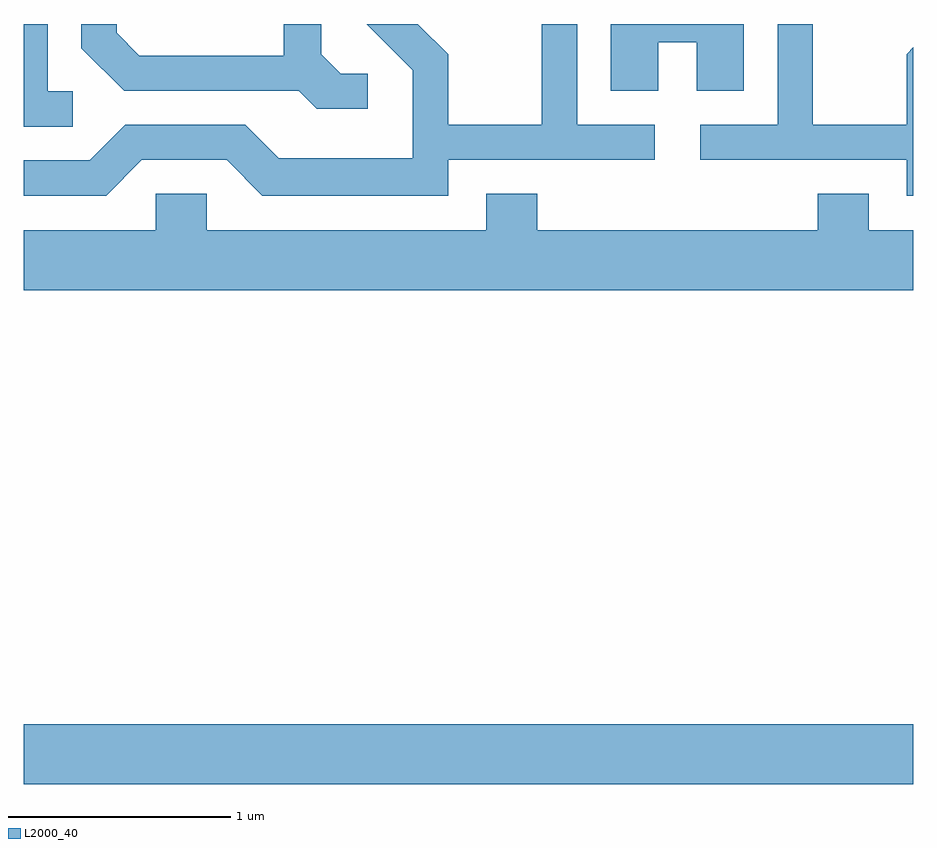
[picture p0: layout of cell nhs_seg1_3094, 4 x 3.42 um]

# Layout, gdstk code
import gdstk
lib = gdstk.Library(unit=1e-6, precision=1e-09)
def R(c, l, rs):  # rectangles x0, y0, x1, y1
    for r in rs: c.add(gdstk.rectangle(r[:2], r[2:], *l))
def P(c, l, *ps):  # polygons
    for p in ps: c.add(gdstk.Polygon(p, *l))
L2000_40 = (2000, 40)

nhs_seg1_3094 = lib.new_cell('nhs_seg1_3094')
R(nhs_seg1_3094, L2000_40, [(279.611,846.296,283.611,846.564)])
P(nhs_seg1_3094, L2000_40, [(282.464,849.631),(282.636,849.631),(282.636,849.411),(282.849,849.411),(282.849,849.712),(282.251,849.712),(282.251,849.411),(282.464,849.411)],
  [(283.611,849.607),(283.581,849.577),(283.581,849.259),(283.159,849.259),(283.159,849.712),(283.001,849.712),(283.001,849.259),(282.653,849.259),(282.653,849.101),(283.581,849.101),(283.581,848.941),(283.611,848.941)],
  [(280.142,849.101),(280.524,849.101),(280.684,848.941),(281.519,848.941),(281.519,849.101),(282.448,849.101),(282.448,849.259),(282.099,849.259),(282.099,849.712),(281.941,849.712),(281.941,849.259),(281.519,849.259),(281.519,849.577),(281.384,849.712),(281.153,849.712),(281.361,849.504),(281.361,849.109),(280.757,849.109),(280.607,849.259),(280.069,849.259),(279.909,849.099),(279.611,849.099),(279.611,848.941),(279.982,848.941)],
  [(279.833,849.409),(279.719,849.409),(279.719,849.712),(279.611,849.712),(279.611,849.251),(279.833,849.251)],
  [(281.158,849.489),(281.037,849.489),(280.949,849.577),(280.949,849.712),(280.781,849.712),(280.781,849.569),(280.132,849.569),(280.029,849.672),(280.029,849.712),(279.871,849.712),(279.871,849.604),(280.064,849.411),(280.849,849.411),(280.929,849.331),(281.158,849.331)],
  [(283.611,848.784),(283.409,848.784),(283.409,848.949),(283.181,848.949),(283.181,848.784),(281.919,848.784),(281.919,848.949),(281.691,848.949),(281.691,848.784),(280.434,848.784),(280.434,848.949),(280.206,848.949),(280.206,848.784),(279.611,848.784),(279.611,848.516),(283.611,848.516)])

lib.write_gds('nhs_seg1_3094.gds')
